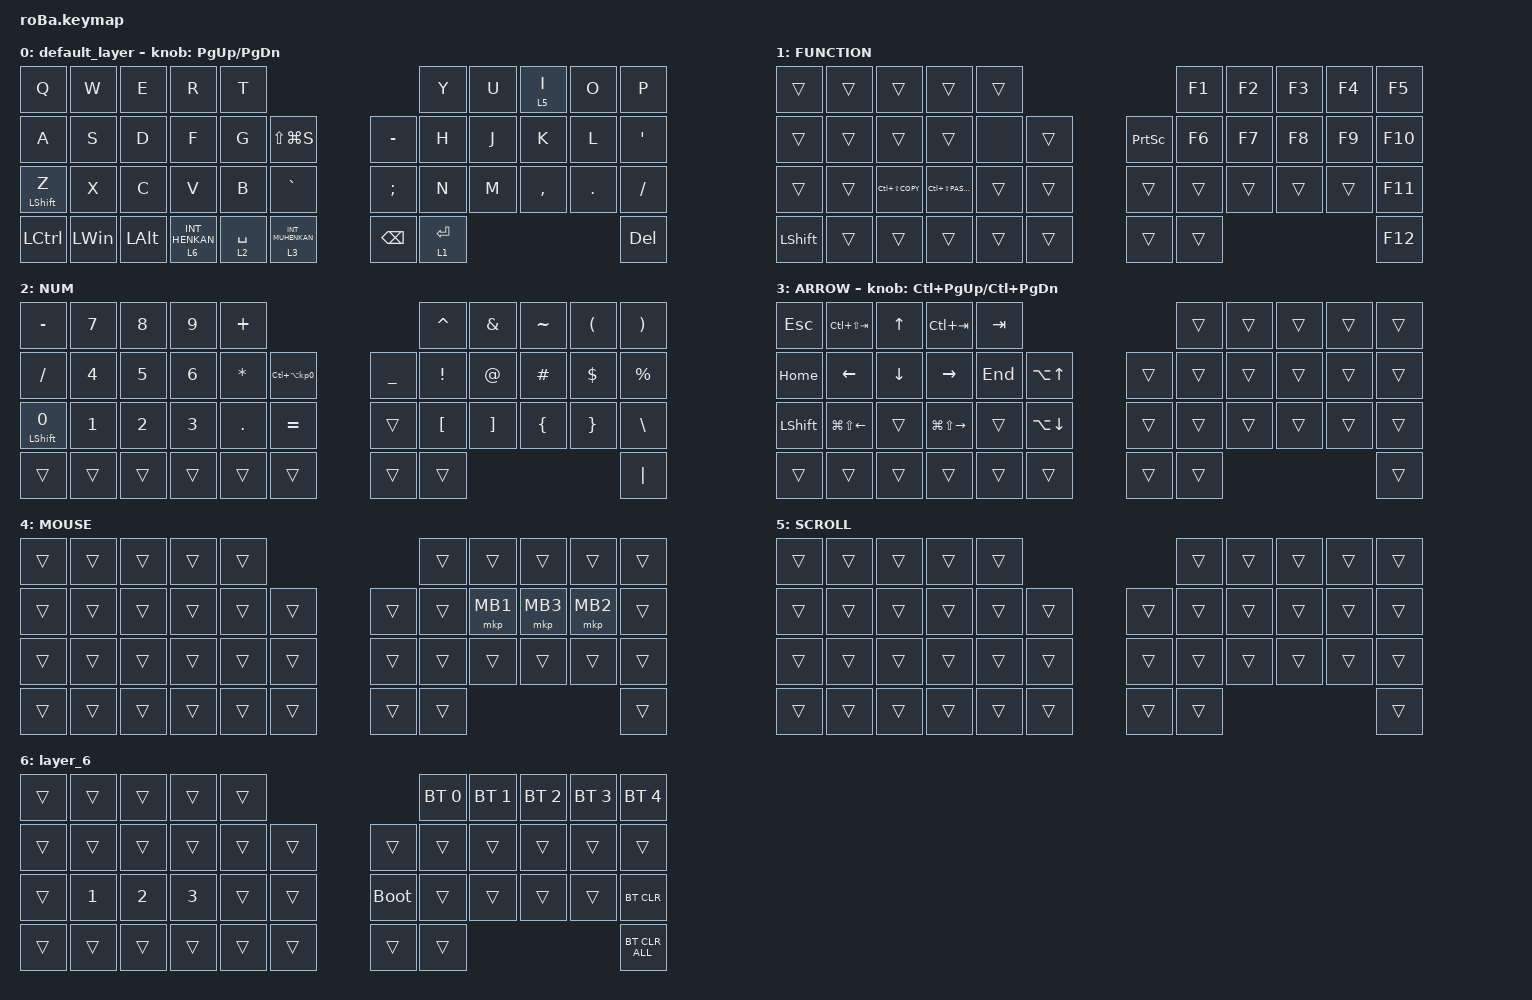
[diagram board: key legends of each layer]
#include <behaviors.dtsi>
#include <dt-bindings/zmk/bt.h>
#include <dt-bindings/zmk/keys.h>
#include <dt-bindings/zmk/pointing.h>

&mt {
    flavor = "balanced";
    quick-tap-ms = <0>;
};

&trackball {
    automouse-layer = <4>;
    scroll-layers = <5>;

    // arrows {
    //     layers = <3>;
    //     bindings =
    //         <&kp RIGHT_ARROW>,
    //         <&kp LEFT_ARROW>,
    //         <&kp UP_ARROW>,
    //         <&kp DOWN_ARROW>;
    //     tick = <10>;
    //     wait-ms = <5>;
    //     tap-ms = <5>;
    // };
};

/ {
    combos {
        compatible = "zmk,combos";

        tab {
            bindings = <&kp TAB>;
            key-positions = <11 12>;
        };

        shift_tab {
            bindings = <&kp LS(TAB)>;
            key-positions = <12 13>;
        };

        muhennkann {
            bindings = <&to_layer_0 INT_MUHENKAN>;
            key-positions = <11 10>;
        };

        double_quotation {
            bindings = <&kp DOUBLE_QUOTES>;
            key-positions = <20 21>;
        };

        eq {
            bindings = <&kp EQUAL>;
            key-positions = <24 25>;
        };
    };

    macros {
        to_layer_0: to_layer_0 {
            compatible = "zmk,behavior-macro-one-param";
            #binding-cells = <1>;
            bindings = <&to 0 &macro_param_1to1 &kp MACRO_PLACEHOLDER>;
            label = "TO_LAYER_0";
        };
    };

    behaviors {
        lt_to_layer_0: lt_to_layer_0 {
            compatible = "zmk,behavior-hold-tap";
            label = "LAYER_TAP_TO_0";
            bindings = <&mo>, <&to_layer_0>;

            #binding-cells = <2>;
            tapping-term-ms = <200>;
        };
    };

    keymap {
        compatible = "zmk,keymap";

        default_layer {
            bindings = <
&kp Q             &kp W         &kp E         &kp R                        &kp T                                                          &kp Y        &kp U  &lt 5 I    &kp O    &kp P
&kp A             &kp S         &kp D         &kp F                        &kp G        &kp LS(LG(S))                      &kp MINUS      &kp H        &kp J  &kp K      &kp L    &kp SQT
&mt LEFT_SHIFT Z  &kp X         &kp C         &kp V                        &kp B        &kp GRAVE                          &kp SEMICOLON  &kp N        &kp M  &kp COMMA  &kp DOT  &kp SLASH
&kp LCTRL         &kp LEFT_WIN  &kp LEFT_ALT  &lt_to_layer_0 6 INT_HENKAN  &lt 2 SPACE  &lt_to_layer_0 3 INT_MUHENKAN      &kp BACKSPACE  &lt 1 ENTER                             &kp DEL
            >;

            sensor-bindings = <&inc_dec_kp PG_UP PAGE_DOWN>;
        };

        FUNCTION {
            bindings = <
&trans          &trans  &trans              &trans               &trans                               &kp F1  &kp F2  &kp F3  &kp F4  &kp F5
&trans          &trans  &trans              &trans               &none   &trans      &kp PRINTSCREEN  &kp F6  &kp F7  &kp F8  &kp F9  &kp F10
&trans          &trans  &kp LC(LS(K_COPY))  &kp LC(LS(K_PASTE))  &trans  &trans      &trans           &trans  &trans  &trans  &trans  &kp F11
&kp LEFT_SHIFT  &trans  &trans              &trans               &trans  &trans      &trans           &trans                          &kp F12
            >;
        };

        NUM {
            bindings = <
&kp MINUS          &kp N7  &kp N8  &kp N9  &kp PLUS                                                   &kp CARET         &kp AMPERSAND      &kp TILDE       &kp LEFT_PARENTHESIS  &kp RIGHT_PARENTHESIS
&kp SLASH          &kp N4  &kp N5  &kp N6  &kp ASTERISK  &kp LC(LA(KP_NUMBER_0))      &kp UNDERSCORE  &kp EXCLAMATION   &kp AT_SIGN        &kp HASH        &kp DOLLAR            &kp PERCENT
&mt LEFT_SHIFT N0  &kp N1  &kp N2  &kp N3  &kp PERIOD    &kp EQUAL                    &trans          &kp LEFT_BRACKET  &kp RIGHT_BRACKET  &kp LEFT_BRACE  &kp RIGHT_BRACE       &kp BACKSLASH
&trans             &trans  &trans  &trans  &trans        &trans                       &trans          &trans                                                                     &kp PIPE
            >;
        };

        ARROW {
            bindings = <
&kp ESCAPE      &kp LC(LS(TAB))         &kp UP_ARROW    &kp LC(TAB)              &kp TAB                                  &trans  &trans  &trans  &trans  &trans
&kp HOME        &kp LEFT_ARROW          &kp DOWN_ARROW  &kp RIGHT_ARROW          &kp END  &kp LA(UP_ARROW)        &trans  &trans  &trans  &trans  &trans  &trans
&kp LEFT_SHIFT  &kp LG(LS(LEFT_ARROW))  &trans          &kp LG(LS(RIGHT_ARROW))  &trans   &kp LA(DOWN_ARROW)      &trans  &trans  &trans  &trans  &trans  &trans
&trans          &trans                  &trans          &trans                   &trans   &trans                  &trans  &trans                          &trans
            >;

            sensor-bindings = <&inc_dec_kp LC(PAGE_UP) LC(PAGE_DOWN)>;
        };

        MOUSE {
            bindings = <
&trans  &trans  &trans  &trans  &trans                      &trans  &trans    &trans    &trans    &trans
&trans  &trans  &trans  &trans  &trans  &trans      &trans  &trans  &mkp MB1  &mkp MB3  &mkp MB2  &trans
&trans  &trans  &trans  &trans  &trans  &trans      &trans  &trans  &trans    &trans    &trans    &trans
&trans  &trans  &trans  &trans  &trans  &trans      &trans  &trans                                &trans
            >;
        };

        SCROLL {
            bindings = <
&trans  &trans  &trans  &trans  &trans                      &trans  &trans  &trans  &trans  &trans
&trans  &trans  &trans  &trans  &trans  &trans      &trans  &trans  &trans  &trans  &trans  &trans
&trans  &trans  &trans  &trans  &trans  &trans      &trans  &trans  &trans  &trans  &trans  &trans
&trans  &trans  &trans  &trans  &trans  &trans      &trans  &trans                          &trans
            >;
        };

        layer_6 {
            bindings = <
&trans  &trans        &trans        &trans        &trans                           &bt BT_SEL 0  &bt BT_SEL 1  &bt BT_SEL 2  &bt BT_SEL 3  &bt BT_SEL 4
&trans  &trans        &trans        &trans        &trans  &trans      &trans       &trans        &trans        &trans        &trans        &trans
&trans  &kp NUMBER_1  &kp NUMBER_2  &kp NUMBER_3  &trans  &trans      &bootloader  &trans        &trans        &trans        &trans        &bt BT_CLR
&trans  &trans        &trans        &trans        &trans  &trans      &trans       &trans                                                  &bt BT_CLR_ALL
            >;
        };
    };
};
